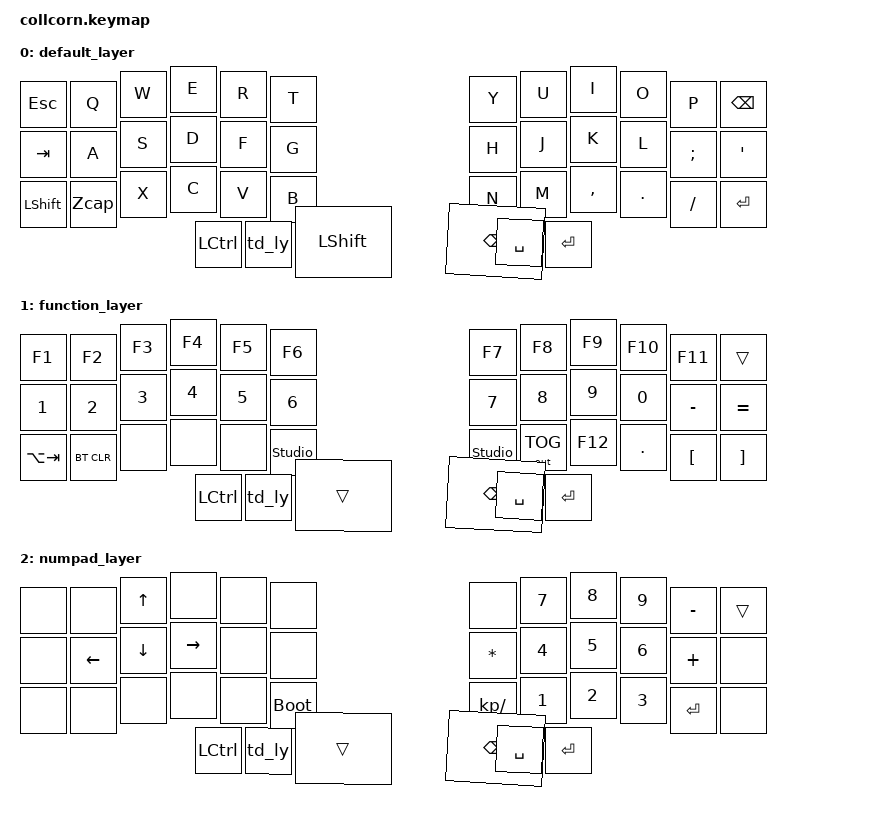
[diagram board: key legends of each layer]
#include <behaviors.dtsi>
#include <dt-bindings/zmk/keys.h>
#include <dt-bindings/zmk/bt.h>
#include <dt-bindings/zmk/outputs.h>

#define WIN   0
#define FUNC  1
#define NUM   2
#define LAY4  3
#define LAY5  4




/ {  
    behaviors {

        Zcap: tap_dance_caps {
            compatible = "zmk,behavior-tap-dance";
            #binding-cells = <0>;
            tapping-term-ms = <200>;
            bindings = <&kp Z>, <&kp CAPS>;
        };      

        td_ly: tap_dance_layers {
            compatible = "zmk,behavior-tap-dance";
            #binding-cells = <0>;
            tapping-term-ms = <200>;
            bindings = <&mo FUNC>, <&tog FUNC>, <&tog NUM>;
        };
    };


    keymap {
        compatible = "zmk,keymap";

        default_layer {
            bindings = <
                &kp ESC     &kp Q      &kp W      &kp E      &kp R      &kp T             &kp Y      &kp U      &kp I      &kp O      &kp P      &kp BSPC   
                &kp TAB     &kp A      &kp S      &kp D      &kp F      &kp G             &kp H      &kp J      &kp K      &kp L      &kp SEMI   &kp APOS   
                &kp LSHIFT  &Zcap      &kp X      &kp C      &kp V      &kp B             &kp N      &kp M      &kp COMMA  &kp DOT    &kp SLASH  &kp ENTER   
                                                  &kp LCTRL  &td_ly     &kp LSHIFT        &kp BSPC   &kp SPACE  &kp ENTER  
            >;
        }; 

        function_layer {
            bindings = <
                &kp F1      &kp F2     &kp F3     &kp F4     &kp F5     &kp F6            &kp F7     &kp F8     &kp F9     &kp F10    &kp F11    &trans   
                &kp N1      &kp N2     &kp N3     &kp N4     &kp N5     &kp N6            &kp N7     &kp N8     &kp N9     &kp N0     &kp MINUS  &kp EQUAL
             &kp LA(TAB)  &bt BT_CLR &none      &none      &none  &studio_unlock  &studio_unlock &out OUT_TOG &kp F12    &kp DOT    &kp LBKT   &kp RBKT
                                                  &kp LCTRL  &td_ly     &trans            &kp BSPC   &kp SPACE  &kp ENTER  
            >;
        }; 

        numpad_layer {
            bindings = <
                &none       &none      &kp UP     &none      &none      &none             &none      &kp N7     &kp N8     &kp N9     &kp MINUS  &trans   
                &none       &kp LEFT   &kp DOWN   &kp RIGHT  &none      &none             &kp STAR   &kp N4     &kp N5     &kp N6     &kp PLUS   &none   
                &none       &none      &none      &none      &none      &bootloader       &kp KP_SLASH &kp N1     &kp N2     &kp N3     &kp ENTER  &none   
                                                  &kp LCTRL  &td_ly     &trans            &kp BSPC   &kp SPACE  &kp ENTER  
            >;
        }; 
        
    };
};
